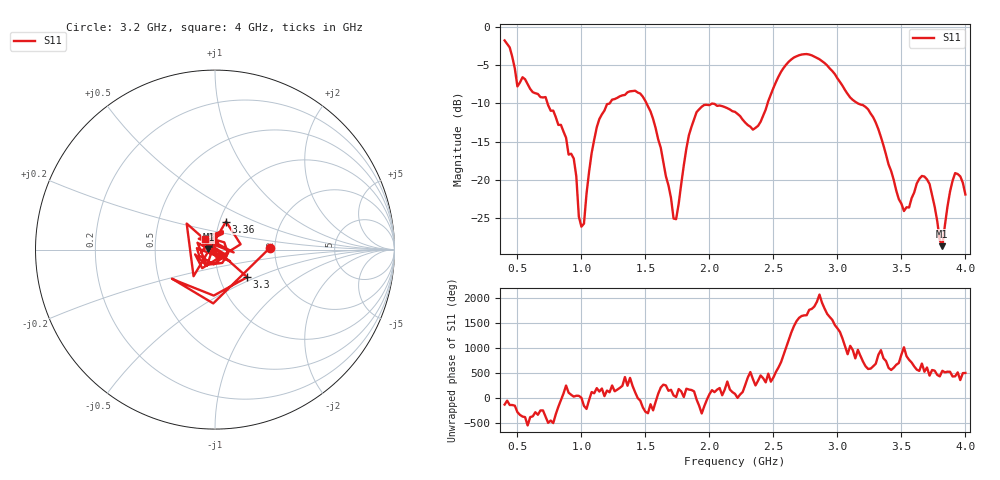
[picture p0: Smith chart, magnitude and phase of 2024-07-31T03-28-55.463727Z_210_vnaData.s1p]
!Created with skrf (http://scikit-rf.org).
# Hz S RI R 50.0
!freq ReS11 ImS11
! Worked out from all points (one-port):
!   181 points, 400 MHz to 4 GHz, reference 50 ohm
!   lowest |S11| = -28.7 dB at 3.82 GHz (marker M1), VSWR 1.08, Z = 46.5 + j0.146 ohm
!   |S11| at or under -10 dB: 735.7 MHz to 1.22 GHz (484.8 MHz wide, 49.6 % of centre); 1.509 GHz to 2.454 GHz (945.3 MHz wide, 47.7 % of centre); 3.161 GHz to end of sweep
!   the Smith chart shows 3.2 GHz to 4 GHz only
!   S11 on the Smith chart (normalised r, x): 3.2 GHz: 1.89, +0.05; 3.3 GHz: 1.36, -0.44; 3.36 GHz: 1.07, +0.34; 4 GHz: 0.89, +0.10
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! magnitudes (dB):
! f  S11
! 400 MHz  -1.7
! 500 MHz  -7.8
! 720 MHz  -9.2
! 860 MHz  -13.7
! 940 MHz  -17.2
! 1 GHz  -26.2
! 1.12 GHz  -13.1
! 1.3 GHz  -9.1
! 1.5 GHz  -9.7
! 1.62 GHz  -15.8
! 1.72 GHz  -25.1
! 1.76 GHz  -23.1
! 1.84 GHz  -14.2
! 1.9 GHz  -11.1
! 2.2 GHz  -11.1
! 2.38 GHz  -12.9
! 2.66 GHz  -4.0
! 2.86 GHz  -4.2
! 3.1 GHz  -9.2
! 3.2 GHz  -10.2
! 3.3 GHz  -12.5
! 3.36 GHz  -15.5
! 3.48 GHz  -22.6
! 3.56 GHz  -23.6
! 3.7 GHz  -20.0
! 3.82 GHz  -28.7
! 3.92 GHz  -19.1
! 4 GHz  -21.9
